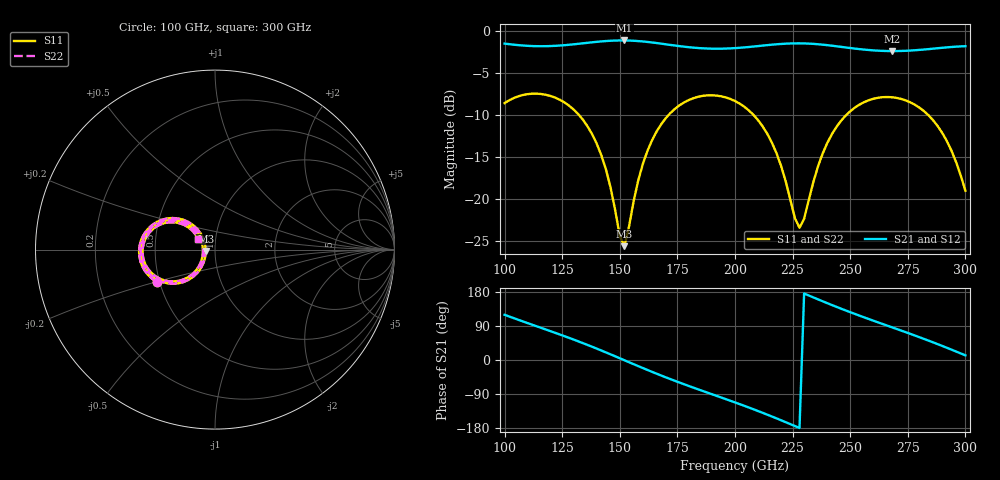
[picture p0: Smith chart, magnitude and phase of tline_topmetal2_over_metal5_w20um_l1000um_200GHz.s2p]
#  GHZ S DB R 50
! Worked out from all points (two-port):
!   101 points, 100 GHz to 300 GHz, reference 50 ohm
!   highest |S21| = -1.12 dB at 152 GHz (marker M1); lowest = -2.4 dB at 268 GHz (marker M2)
!   |S21| within 3 dB of the highest: start of sweep to end of sweep
!   lowest |S11| = -25.7 dB at 152 GHz (marker M3), VSWR 1.11, Z = 45.1 - j0.721 ohm
!   |S11| at or under -10 dB: 132.2 GHz to 171.2 GHz (39.01 GHz wide, 25.7 % of centre); 208 GHz to 248.4 GHz (40.35 GHz wide, 17.7 % of centre); 283.8 GHz to end of sweep
!   |S22| runs from -25.5 to -7.5 dB; largest |S21 - S12| = 1e-13
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100  -8.60 -151.3  -1.49 119.3  -1.49 119.3  -8.60 -151.2
118  -7.61 173.6  -1.80 80.2  -1.80 80.2  -7.61 173.7
134  -10.58 143.4  -1.46 44.5  -1.46 44.5  -10.59 143.6
142  -14.82 131.6  -1.23 25.0  -1.23 25.0  -14.83 131.9
146  -18.68 131.8  -1.15 14.9  -1.15 14.9  -18.67 132.4
150  -24.45 155.2  -1.12 4.6  -1.12 4.6  -24.34 156.1
152  -25.67 -171.2  -1.12 -0.6  -1.12 -0.6  -25.48 -171.0
160  -15.86 -127.0  -1.24 -21.2  -1.24 -21.2  -15.82 -127.3
168  -11.10 -137.5  -1.50 -41.0  -1.50 -41.0  -11.09 -137.6
184  -7.84 -167.1  -2.02 -77.4  -2.02 -77.4  -7.83 -167.2
200  -8.35 163.5  -2.03 -112.0  -2.03 -112.0  -8.35 163.4
208  -10.00 149.4  -1.84 -130.0  -1.84 -130.0  -10.00 149.3
216  -13.31 137.8  -1.62 -149.1  -1.62 -149.1  -13.31 137.7
228  -23.47 -178.7  -1.46 -179.4  -1.46 -179.4  -23.55 -178.7
234  -18.02 -134.5  -1.53 165.2  -1.53 165.2  -18.04 -134.2
240  -13.39 -134.2  -1.68 150.1  -1.68 150.1  -13.39 -134.1
248  -10.09 -145.7  -1.95 130.9  -1.95 130.9  -10.10 -145.6
258  -8.26 -163.3  -2.26 108.2  -2.26 108.2  -8.26 -163.2
268  -7.89 179.0  -2.38 86.5  -2.38 86.5  -7.89 179.1
286  -10.65 148.7  -2.10 46.5  -2.10 46.5  -10.65 148.7
294  -14.30 140.2  -1.90 27.2  -1.90 27.2  -14.31 140.1
300  -19.05 147.9  -1.80 12.2  -1.80 12.2  -19.11 147.7
